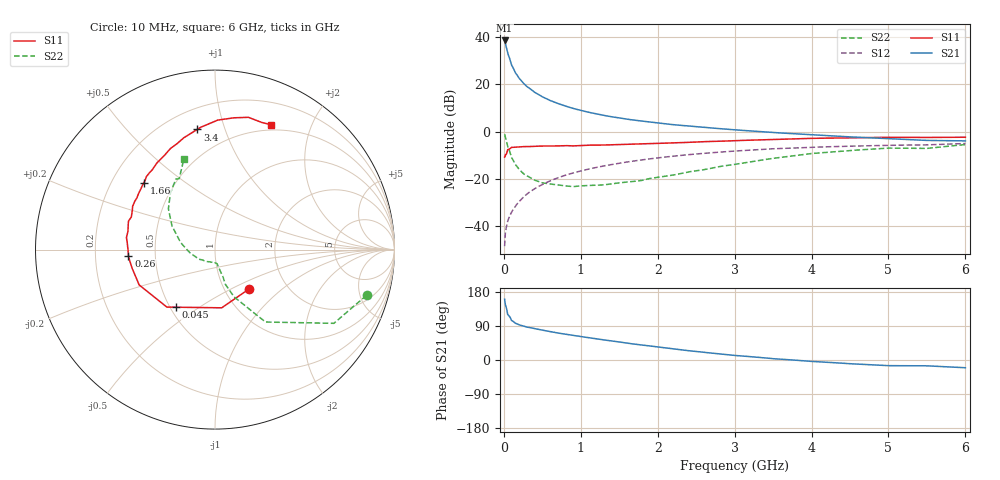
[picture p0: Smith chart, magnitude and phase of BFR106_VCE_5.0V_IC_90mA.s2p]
! Infineon Technologies  Discrete & RF Semiconductors
! BFR106
! VCE =  5.0 V,  IC =  90 mA
! Common Emitter S-Parameters:  Nov 2015
# GHz  S  MA  R  50
!  f  S11  S21  S12  S22
! GHz  MAG  ANG  MAG  ANG  MAG  ANG  MAG  ANG
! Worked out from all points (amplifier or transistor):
!   210 points, 10 MHz to 6 GHz, reference 50 ohm
!   highest |S21| = 38.6 dB at 10 MHz (marker M1)
!   |S21| within 3 dB of that: start of sweep to 33.13 MHz
!   unconditionally stable (mu >= 1): 190.3 MHz to 2.416 GHz
!   at 185 MHz: K = 0.99, MSG = 26.7 dB, |S12| = -30.1 dB
!   at 1.52 GHz: K = 1.06, MAG = 8.0 dB, |S12| = -13.2 dB
!   at 6 GHz: K = 0.99, MSG = 0.6 dB, |S12| = -5.0 dB
!   S11 on the Smith chart (normalised r, x): 10 MHz: 1.30, -0.62; 45 MHz: 0.54, -0.40; 260 MHz: 0.35, -0.03; 1.66 GHz: 0.34, +0.36; 3.4 GHz: 0.33, +0.81; 6 GHz: 0.44, +1.45
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0.01  0.2901 -49.0  84.69 160.5  0.0038 78.8  0.8819 -16.8
0.02  0.3265 -83.4  73.55 145.6  0.0073 72.1  0.7794 -31.8
0.045  0.3875 -124.1  49.31 126.2  0.0119 62.6  0.5317 -49.6
0.05  0.4176 -129.9  45.56 120.1  0.0128 61.5  0.4919 -55.1
0.1  0.4661 -155.0  25.79 104.4  0.0198 66.1  0.2845 -68.0
0.15  0.4719 -165.7  17.59 97.0  0.0266 68.6  0.2017 -73.4
0.2  0.4781 -171.3  13.39 92.8  0.0333 71.1  0.1593 -73.7
0.26  0.4833 -176.1  10.38 89.0  0.042 72.5  0.1274 -75.9
0.3  0.4836 -178.4  8.983 86.9  0.0479 73.4  0.1168 -77.1
0.4  0.4891 176.2  6.799 82.7  0.0621 74.0  0.0945 -79.1
0.5  0.4979 172.3  5.457 78.7  0.0763 73.6  0.0829 -80.3
0.6  0.4955 168.2  4.574 75.0  0.0908 72.8  0.0783 -83.2
0.7  0.5016 164.8  3.95 71.2  0.1055 72.0  0.0752 -87.9
1.02  0.5098 154.6  2.763 61.3  0.1503 67.9  0.0718 -100.7
1.3  0.5218 146.6  2.208 52.9  0.189 63.8  0.0751 -115.7
1.66  0.5441 136.7  1.782 42.9  0.236 58.6  0.0876 -136.3
2.02  0.5666 127.9  1.51 33.9  0.2814 53.1  0.11 -155.0
3.1  0.6534 103.7  1.065 10.6  0.3978 36.3  0.216 162.1
3.4  0.677 98.4  0.985 5.4  0.4253 31.8  0.2579 153.5
4.1  0.7249 87.4  0.841 -4.8  0.4742 21.4  0.3552 136.4
5.1  0.7584 74.6  0.7 -15.0  0.5175 8.7  0.4479 118.6
6  0.7625 65.9  0.639 -20.4  0.5615 -0.9  0.5337 108.9
